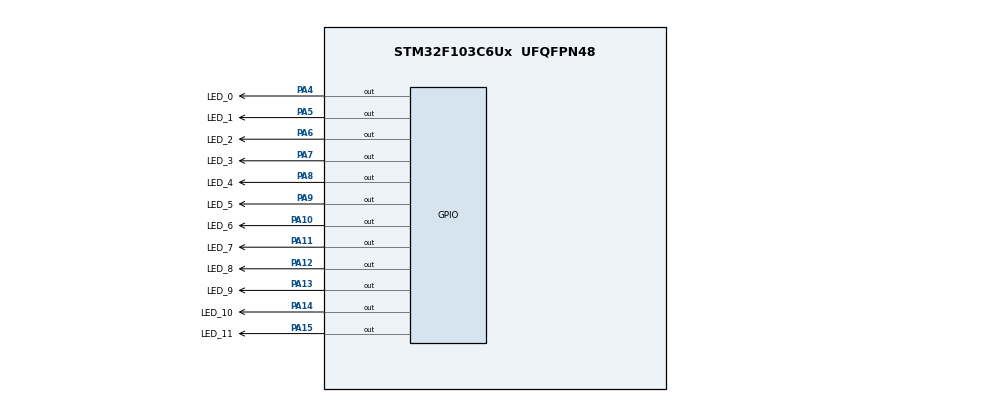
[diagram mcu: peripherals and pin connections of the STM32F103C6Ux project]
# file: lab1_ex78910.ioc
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Mcu.Family=STM32F1
Mcu.Name=STM32F103C6Ux
Mcu.Package=UFQFPN48
NVIC.PriorityGroup=NVIC_PRIORITYGROUP_4
PA10.GPIO_Label=LED_6
PA10.Signal=GPIO_Output
PA11.GPIO_Label=LED_7
PA11.Signal=GPIO_Output
PA12.GPIO_Label=LED_8
PA12.Signal=GPIO_Output
PA13.GPIO_Label=LED_9
PA13.Signal=GPIO_Output
PA14.GPIO_Label=LED_10
PA14.Signal=GPIO_Output
PA15.GPIO_Label=LED_11
PA15.Signal=GPIO_Output
PA4.GPIO_Label=LED_0
PA4.Signal=GPIO_Output
PA5.GPIO_Label=LED_1
PA5.Signal=GPIO_Output
PA6.GPIO_Label=LED_2
PA6.Signal=GPIO_Output
PA7.GPIO_Label=LED_3
PA7.Signal=GPIO_Output
PA8.GPIO_Label=LED_4
PA8.Signal=GPIO_Output
PA9.GPIO_Label=LED_5
PA9.Signal=GPIO_Output
ProjectManager.HeapSize=0x200
ProjectManager.StackSize=0x400
ProjectManager.TargetToolchain=STM32CubeIDE
RCC.APB1Freq_Value=8000000
RCC.APB2Freq_Value=8000000
VP_SYS_VS_ND.Mode=No_Debug
board=custom

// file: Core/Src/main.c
/* USER CODE BEGIN Header */
/**
  ******************************************************************************
  * @file           : main.c
  * @brief          : Main program body
  ******************************************************************************
  * @attention
  *
  * <h2><center>&copy; Copyright (c) 2023 STMicroelectronics.
  * All rights reserved.</center></h2>
  *
  * This software component is licensed by ST under BSD 3-Clause license,
  * the "License"; You may not use this file except in compliance with the
  * License. You may obtain a copy of the License at:
  *                        opensource.org/licenses/BSD-3-Clause
  *
  ******************************************************************************
  */
/* USER CODE END Header */
#include "main.h"

void SystemClock_Config(void);
static void MX_GPIO_Init(void);

int main(void)
{

  /* MCU Configuration--------------------------------------------------------*/

  /* Reset of all peripherals, Initializes the Flash interface and the Systick. */
  HAL_Init();

  /* Configure the system clock */
  SystemClock_Config();

  /* Initialize all configured peripherals */
  MX_GPIO_Init();

  /* Infinite loop */
  /* USER CODE BEGIN WHILE */

  void clearAllClock(){
      HAL_GPIO_WritePin(LED_0_GPIO_Port, LED_0_Pin, RESET);
      HAL_GPIO_WritePin(LED_1_GPIO_Port, LED_1_Pin, RESET);
      HAL_GPIO_WritePin(LED_2_GPIO_Port, LED_2_Pin, RESET);
      HAL_GPIO_WritePin(LED_3_GPIO_Port, LED_3_Pin, RESET);
      HAL_GPIO_WritePin(LED_4_GPIO_Port, LED_4_Pin, RESET);
      HAL_GPIO_WritePin(LED_5_GPIO_Port, LED_5_Pin, RESET);
      HAL_GPIO_WritePin(LED_6_GPIO_Port, LED_6_Pin, RESET);
      HAL_GPIO_WritePin(LED_7_GPIO_Port, LED_7_Pin, RESET);
      HAL_GPIO_WritePin(LED_8_GPIO_Port, LED_8_Pin, RESET);
      HAL_GPIO_WritePin(LED_9_GPIO_Port, LED_9_Pin, RESET);
      HAL_GPIO_WritePin(LED_10_GPIO_Port, LED_10_Pin, RESET);
      HAL_GPIO_WritePin(LED_11_GPIO_Port, LED_11_Pin, RESET);
  }

  void setNumberOnClock(int num){

	  if (num == 0){
		  HAL_GPIO_WritePin(LED_0_GPIO_Port, LED_0_Pin, SET);
	  }
	  else if (num == 1){
		  HAL_GPIO_WritePin(LED_1_GPIO_Port, LED_1_Pin, SET);
	  }
	  else if (num == 2){
	  		  HAL_GPIO_WritePin(LED_2_GPIO_Port, LED_2_Pin, SET);
	  }
	  else if (num == 3){
	  		  HAL_GPIO_WritePin(LED_3_GPIO_Port, LED_3_Pin, SET);
	  }
	  else if (num == 4){
	  		  HAL_GPIO_WritePin(LED_4_GPIO_Port, LED_4_Pin, SET);
	  }
	  else if (num == 5){
	  		  HAL_GPIO_WritePin(LED_5_GPIO_Port, LED_5_Pin, SET);
	  }
	  else if (num == 6){
	  		  HAL_GPIO_WritePin(LED_6_GPIO_Port, LED_6_Pin, SET);
	  }
	  else if (num == 7){
	  		  HAL_GPIO_WritePin(LED_7_GPIO_Port, LED_7_Pin, SET);
	  }
	  else if (num == 8){
	  	  	  HAL_GPIO_WritePin(LED_8_GPIO_Port, LED_8_Pin, SET);
	  }
	  else if (num == 9){
	  	  	  HAL_GPIO_WritePin(LED_9_GPIO_Port, LED_9_Pin, SET);
	  }
	  else if (num == 10){
	  	  	  HAL_GPIO_WritePin(LED_10_GPIO_Port, LED_10_Pin, SET);
	  }
	  else if (num == 11){
	  	  	  HAL_GPIO_WritePin(LED_11_GPIO_Port, LED_11_Pin, SET);
	  }
  }

  void clearNumberOnClock(int num){
	  if (num == 0){
	 		  HAL_GPIO_WritePin(LED_0_GPIO_Port, LED_0_Pin, RESET);
	 	  }
	  else if (num == 1){
	 		  HAL_GPIO_WritePin(LED_1_GPIO_Port, LED_1_Pin, RESET);
	 	  }
	  else if (num == 2){
	 	  	  HAL_GPIO_WritePin(LED_2_GPIO_Port, LED_2_Pin, RESET);
	 	  }
	  else if (num == 3){
	 	  	  HAL_GPIO_WritePin(LED_3_GPIO_Port, LED_3_Pin, RESET);
	 	  }
	  else if (num == 4){
	 	  	  HAL_GPIO_WritePin(LED_4_GPIO_Port, LED_4_Pin, RESET);
	 	  }
	  else if (num == 5){
	 	  	  HAL_GPIO_WritePin(LED_5_GPIO_Port, LED_5_Pin, RESET);
	 	  }
	  else if (num == 6){
	 		  HAL_GPIO_WritePin(LED_6_GPIO_Port, LED_6_Pin, RESET);
	 	  }
	  else if (num == 7){
	 	  	  HAL_GPIO_WritePin(LED_7_GPIO_Port, LED_7_Pin, RESET);
	 	  }
	  else if (num == 8){
	 	  	  HAL_GPIO_WritePin(LED_8_GPIO_Port, LED_8_Pin, RESET);
	 	  }
	  else if (num == 9){
	 	  	  HAL_GPIO_WritePin(LED_9_GPIO_Port, LED_9_Pin, RESET);
	 	  }
	  else if (num == 10){
	 	  	  HAL_GPIO_WritePin(LED_10_GPIO_Port, LED_10_Pin, RESET);
	 	  }
	  else if (num == 11){
	 	  	  HAL_GPIO_WritePin(LED_11_GPIO_Port, LED_11_Pin, RESET);
	 	  }
 }

  int hour = 2;
  int minute = 24;
  int second = 0;
  while (1)
  {

	  if(second>59){
		  second = 0;
		  minute++;
	  }
	  if(minute>59){
		  minute = 0;
		  hour++;
	  }
	  if(hour>11) hour = 0;
	  clearAllClock();
	  setNumberOnClock(hour);
	  setNumberOnClock(minute/5);
	  setNumberOnClock(second/5);
	  HAL_Delay(1000);
	  second++;
    /* USER CODE END WHILE */

  }
}

void SystemClock_Config(void)
{
  RCC_OscInitTypeDef RCC_OscInitStruct = {0};
  RCC_ClkInitTypeDef RCC_ClkInitStruct = {0};

  /** Initializes the RCC Oscillators according to the specified parameters
  * in the RCC_OscInitTypeDef structure.
  */
  RCC_OscInitStruct.OscillatorType = RCC_OSCILLATORTYPE_HSI;
  RCC_OscInitStruct.HSIState = RCC_HSI_ON;
  RCC_OscInitStruct.HSICalibrationValue = RCC_HSICALIBRATION_DEFAULT;
  RCC_OscInitStruct.PLL.PLLState = RCC_PLL_NONE;
  if (HAL_RCC_OscConfig(&RCC_OscInitStruct) != HAL_OK)
  {
    Error_Handler();
  }
  /** Initializes the CPU, AHB and APB buses clocks
  */
  RCC_ClkInitStruct.ClockType = RCC_CLOCKTYPE_HCLK|RCC_CLOCKTYPE_SYSCLK
                              |RCC_CLOCKTYPE_PCLK1|RCC_CLOCKTYPE_PCLK2;
  RCC_ClkInitStruct.SYSCLKSource = RCC_SYSCLKSOURCE_HSI;
  RCC_ClkInitStruct.AHBCLKDivider = RCC_SYSCLK_DIV1;
  RCC_ClkInitStruct.APB1CLKDivider = RCC_HCLK_DIV1;
  RCC_ClkInitStruct.APB2CLKDivider = RCC_HCLK_DIV1;

  if (HAL_RCC_ClockConfig(&RCC_ClkInitStruct, FLASH_LATENCY_0) != HAL_OK)
  {
    Error_Handler();
  }
}

static void MX_GPIO_Init(void)
{
  GPIO_InitTypeDef GPIO_InitStruct = {0};

  /* GPIO Ports Clock Enable */
  __HAL_RCC_GPIOA_CLK_ENABLE();

  /*Configure GPIO pin Output Level */
  HAL_GPIO_WritePin(GPIOA, LED_0_Pin|LED_1_Pin|LED_2_Pin|LED_3_Pin
                          |LED_4_Pin|LED_5_Pin|LED_6_Pin|LED_7_Pin
                          |LED_8_Pin|LED_9_Pin|LED_10_Pin|LED_11_Pin, GPIO_PIN_RESET);

  /*Configure GPIO pins : LED_0_Pin LED_1_Pin LED_2_Pin LED_3_Pin
                           LED_4_Pin LED_5_Pin LED_6_Pin LED_7_Pin
                           LED_8_Pin LED_9_Pin LED_10_Pin LED_11_Pin */
  GPIO_InitStruct.Pin = LED_0_Pin|LED_1_Pin|LED_2_Pin|LED_3_Pin
                          |LED_4_Pin|LED_5_Pin|LED_6_Pin|LED_7_Pin
                          |LED_8_Pin|LED_9_Pin|LED_10_Pin|LED_11_Pin;
  GPIO_InitStruct.Mode = GPIO_MODE_OUTPUT_PP;
  GPIO_InitStruct.Pull = GPIO_NOPULL;
  GPIO_InitStruct.Speed = GPIO_SPEED_FREQ_LOW;
  HAL_GPIO_Init(GPIOA, &GPIO_InitStruct);

}

void Error_Handler(void)
{
  __disable_irq();
  while (1)
  {
  }
}

/************************ (C) COPYRIGHT STMicroelectronics *****END OF FILE****/
